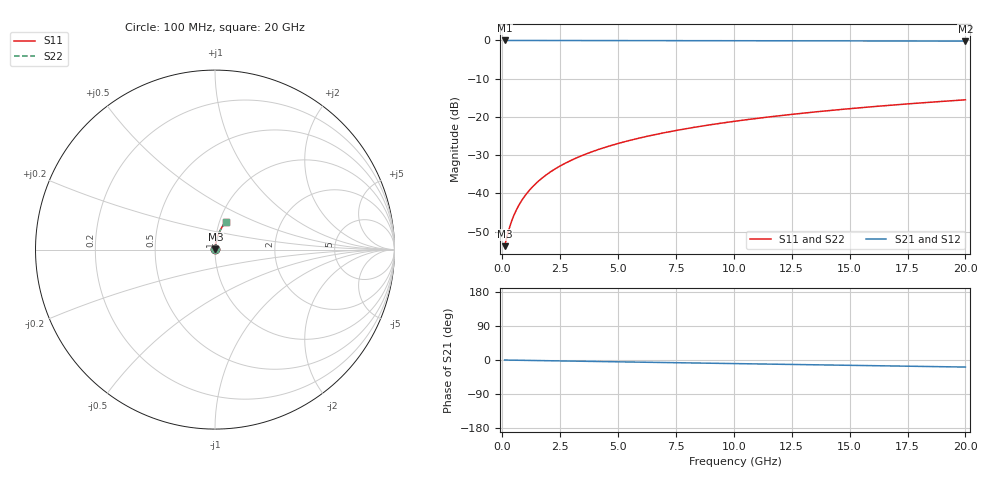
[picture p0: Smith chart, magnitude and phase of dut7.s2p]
! Touchstone file exported from HFSS 2026.1.0
!  File:  C:/ffzhzh/LocalFiles/Ansys_Project_Files/temp_val_BSMRDL_7_1782903132_8056.aedt
!  Generated:  06:53:22 PM Jul  1, 2026
!  Design:  BSMRDL
!  Project:  temp_val_BSMRDL_7_1782903132_8056
! Variables:
!  h_bsmrdl = 3.96um
!  h_ox = 20um
!  h_rdl = 5um
!  h_sub = 80um
!  h_tmrdl = 5um
!  h_tsv = 80um
!  h_via = 3um
!  l_bsmrdl = 267.19um
!  l_sub = 667.19um
!  l_tmrdl = 200um
!  m_sub = 200um
!  pitch = 30.77um
!  r_tsv = 6um
!  s_tmrdl = 10um
!  w_bsmrdl = 14.71um
!  w_sub = 500um
!  w_tmrdl = 12um
!  x_tsv_center1 = 206um
!  x_tsv_center2 = 487.9um
!  x_tsv_center3 = 699.9um
!  x_tsv_center4 = 981.8um
!  x_tsv_center5 = 1193.8um
!  x_tsv_center6 = 1475.7um
# GHz S MA R 50.000000
! Terminal data exported
! Port[1] = BSM_RDL1_1_T1
! Port[2] = BSM_RDL1_1_T2
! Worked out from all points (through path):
!   200 points, 100 MHz to 20 GHz, reference 50 ohm
!   highest |S21| = -0.02 dB at 100 MHz (marker M1); lowest = -0.2 dB at 20 GHz (marker M2)
!   group delay of S21, straight-line fit = 2.58 ps
!   lowest |S11| = -53.8 dB at 100 MHz (marker M3), VSWR 1.00, Z = 50.2 + j0.1 ohm
!   |S11| at or under -10 dB: start of sweep to end of sweep
!   |S22| runs from -53.8 to -15.5 dB; largest |S21 - S12| = 2e-15
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0.1  0.002037 29.4  0.9982 -0.1  0.9982 -0.1  0.002037 29.4
! Gamma 0 0 0 0
! Port Impedance 50 0 50 0
0.2  0.002696 47.0  0.9982 -0.2  0.9982 -0.2  0.002696 47.0
0.3  0.003483 56.7  0.9981 -0.3  0.9981 -0.3  0.003483 56.7
0.4  0.004307 62.6  0.998 -0.4  0.998 -0.4  0.004307 62.6
0.5  0.005147 66.5  0.998 -0.5  0.998 -0.5  0.005147 66.5
0.6  0.005997 69.4  0.9979 -0.6  0.9979 -0.6  0.005997 69.4
0.8  0.007721 73.4  0.9979 -0.8  0.9979 -0.8  0.007721 73.4
1  0.009468 75.9  0.9978 -1.0  0.9978 -1.0  0.009468 75.9
1.2  0.01123 77.6  0.9977 -1.2  0.9977 -1.2  0.01123 77.6
1.4  0.013 78.7  0.9977 -1.4  0.9977 -1.4  0.013 78.7
1.7  0.01567 79.9  0.9976 -1.7  0.9976 -1.7  0.01567 79.9
2.2  0.02013 81.0  0.9974 -2.1  0.9974 -2.1  0.02013 81.0
2.8  0.02548 81.5  0.9971 -2.7  0.9971 -2.7  0.02548 81.5
3.5  0.03169 81.6  0.9967 -3.4  0.9967 -3.4  0.03169 81.6
4.2  0.03786 81.4  0.9962 -4.0  0.9962 -4.0  0.03786 81.3
5  0.04485 80.9  0.9957 -4.8  0.9957 -4.8  0.04485 80.9
6.8  0.06036 79.7  0.9942 -6.5  0.9942 -6.5  0.06036 79.7
8.3  0.07307 78.5  0.9928 -7.9  0.9928 -7.9  0.07307 78.5
10.1  0.08809 77.1  0.991 -9.6  0.991 -9.6  0.08809 77.1
13.4  0.1151 74.4  0.9873 -12.6  0.9873 -12.6  0.1151 74.4
16.7  0.1414 71.6  0.9832 -15.6  0.9832 -15.6  0.1414 71.6
20  0.1671 68.9  0.9786 -18.6  0.9786 -18.6  0.1671 68.9
